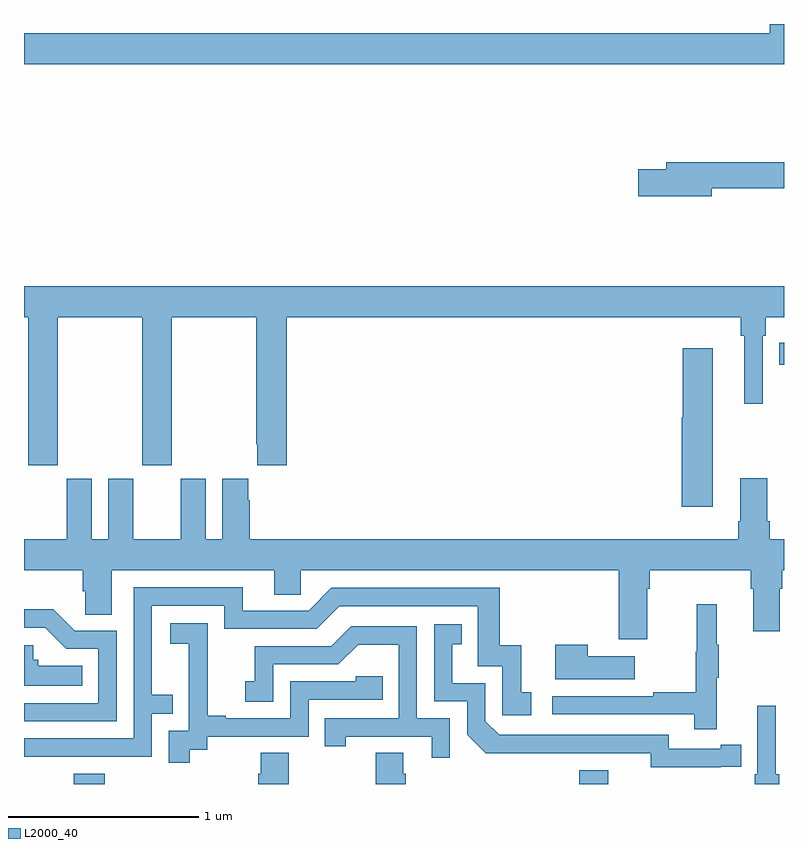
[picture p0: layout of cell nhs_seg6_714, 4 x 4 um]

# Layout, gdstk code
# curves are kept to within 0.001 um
import gdstk
lib = gdstk.Library(unit=1e-6, precision=1e-09)
def R(c, l, rs):  # rectangles x0, y0, x1, y1
    for r in rs: c.add(gdstk.rectangle(r[:2], r[2:], *l))
def P(c, l, *ps):  # polygons
    for p in ps: c.add(gdstk.Polygon(p, *l))
L2000_40 = (2000, 40)

nhs_seg6_714 = lib.new_cell('nhs_seg6_714')
R(nhs_seg6_714, L2000_40, [(155.261,991.5,155.426,991.555), (157.922,991.5,158.074,991.573), (158.974,993.706,159,993.822)])
P(nhs_seg6_714, L2000_40, [(159,995.5),(158.924,995.5),(158.924,995.452),(155,995.452),(155,995.288),(159,995.288)],
  [(158.62,994.636),(159,994.636),(159,994.772),(158.381,994.772),(158.381,994.736),(158.232,994.736),(158.232,994.594),(158.62,994.594)],
  [(155.178,993.956),(155.623,993.956),(155.623,993.177),(155.778,993.177),(155.778,993.956),(156.223,993.956),(156.223,993.289),(156.227,993.289),(156.227,993.177),(156.383,993.177),(156.383,993.956),(158.773,993.956),(158.773,993.86),(158.792,993.86),(158.792,993.501),(158.889,993.501),(158.889,993.86),(158.903,993.86),(158.903,993.956),(159,993.956),(159,994.12),(155,994.12),(155,993.956),(155.023,993.956),(155.023,993.177),(155.178,993.177)],
  [(158.626,993.793),(158.468,993.793),(158.468,993.429),(158.462,993.429),(158.462,992.958),(158.626,992.958)],
  [(158.281,992.528),(158.294,992.528),(158.294,992.624),(158.825,992.624),(158.825,992.528),(158.837,992.528),(158.837,992.304),(158.977,992.304),(158.977,992.528),(158.99,992.528),(158.99,992.624),(159,992.624),(159,992.788),(158.924,992.788),(158.924,992.884),(158.911,992.884),(158.911,993.109),(158.771,993.109),(158.771,992.884),(158.759,992.884),(158.759,992.788),(156.188,992.788),(156.188,992.993),(156.181,992.993),(156.181,993.106),(156.044,993.106),(156.044,992.788),(155.956,992.788),(155.956,993.106),(155.825,993.106),(155.825,992.788),(155.575,992.788),(155.575,993.106),(155.444,993.106),(155.444,992.788),(155.356,992.788),(155.356,993.106),(155.225,993.106),(155.225,992.788),(155,992.788),(155,992.624),(155.309,992.624),(155.309,992.515),(155.322,992.515),(155.322,992.392),(155.461,992.392),(155.461,992.624),(156.317,992.624),(156.317,992.497),(156.456,992.497),(156.456,992.624),(158.129,992.624),(158.129,992.262),(158.281,992.262)],
  [(155.177,991.644),(155.673,991.644),(155.673,991.869),(155.783,991.869),(155.783,991.97),(155.673,991.97),(155.673,992.439),(156.054,992.439),(156.054,992.316),(156.54,992.316),(156.66,992.436),(157.389,992.436),(157.389,992.121),(157.518,992.121),(157.518,991.863),(157.669,991.863),(157.669,991.983),(157.616,991.983),(157.616,992.23),(157.505,992.23),(157.505,992.532),(156.618,992.532),(156.498,992.412),(156.151,992.412),(156.151,992.535),(155.577,992.535),(155.577,991.74),(155,991.74),(155,991.643)],
  [(158.645,992.059),(158.656,992.059),(158.656,992.233),(158.645,992.233),(158.645,992.446),(158.542,992.446),(158.542,992.196),(158.535,992.196),(158.535,991.982),(158.311,991.982),(158.311,991.962),(157.779,991.962),(157.779,991.866),(158.527,991.866),(158.527,991.788),(158.645,991.788)],
  [(155.487,992.307),(155.268,992.307),(155.155,992.42),(155,992.42),(155,992.322),(155.111,992.322),(155.222,992.211),(155.391,992.211),(155.391,991.926),(155,991.926),(155,991.83),(155.487,991.83)],
  [(155.872,991.681),(155.964,991.681),(155.964,991.749),(156.498,991.749),(156.498,991.944),(156.887,991.944),(156.887,992.067),(156.747,992.067),(156.747,992.04),(156.402,992.04),(156.402,991.845),(156.061,991.845),(156.061,991.858),(155.966,991.858),(155.966,992.141),(155.967,992.141),(155.967,992.347),(155.769,992.347),(155.769,992.237),(155.867,992.237),(155.867,992.009),(155.868,992.009),(155.868,991.779),(155.763,991.779),(155.763,991.611),(155.872,991.611)],
  [(158.666,991.59),(158.774,991.59),(158.774,991.706),(158.666,991.706),(158.666,991.686),(158.394,991.686),(158.394,991.758),(157.5,991.758),(157.428,991.83),(157.428,992.031),(157.255,992.031),(157.255,992.235),(157.304,992.235),(157.304,992.341),(157.158,992.341),(157.158,991.935),(157.332,991.935),(157.332,991.758),(157.43,991.661),(158.298,991.662),(158.298,991.589)],
  [(157.242,991.845),(157.068,991.845),(157.068,992.331),(156.722,992.331),(156.617,992.226),(156.214,992.226),(156.214,992.041),(156.165,992.041),(156.165,991.932),(156.312,991.932),(156.312,992.13),(156.654,992.13),(156.758,992.234),(156.972,992.234),(156.972,991.845),(156.583,991.845),(156.583,991.698),(156.694,991.698),(156.694,991.749),(157.145,991.749),(157.145,991.638),(157.242,991.638)],
  [(158.215,992.173),(157.967,992.173),(157.967,992.233),(157.796,992.233),(157.796,992.051),(158.215,992.051)],
  [(155.306,992.122),(155.076,992.122),(155.076,992.154),(155.049,992.154),(155.049,992.23),(155,992.23),(155,992.018),(155.306,992.018)],
  [(158.975,991.552),(158.956,991.552),(158.956,991.912),(158.859,991.912),(158.859,991.552),(158.846,991.552),(158.846,991.5),(158.975,991.5)],
  [(157.01,991.554),(156.997,991.554),(156.997,991.664),(156.85,991.664),(156.85,991.5),(157.01,991.5)],
  [(156.393,991.664),(156.245,991.664),(156.245,991.554),(156.233,991.554),(156.233,991.5),(156.393,991.5)])

lib.write_gds('nhs_seg6_714.gds')
